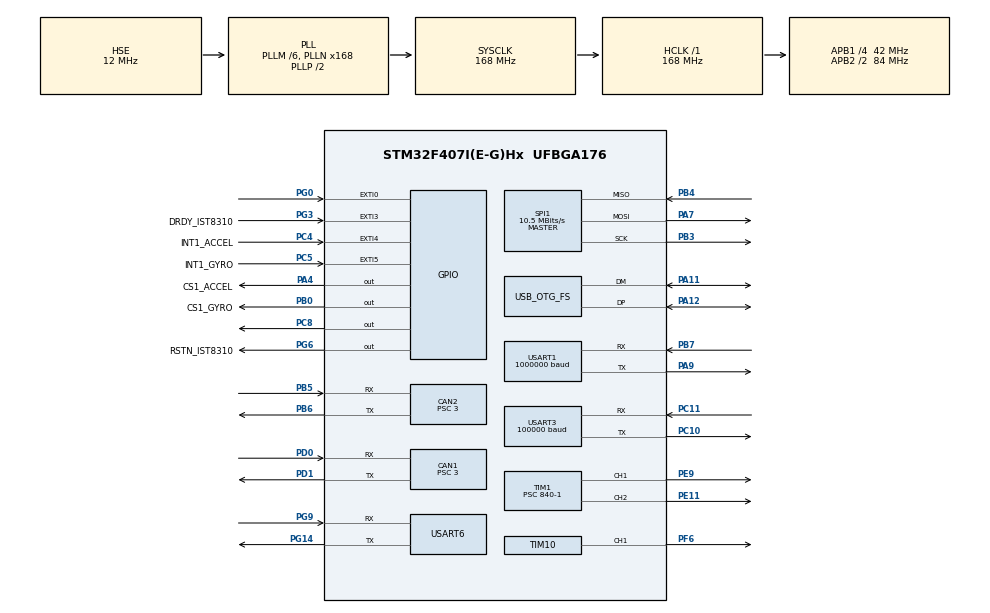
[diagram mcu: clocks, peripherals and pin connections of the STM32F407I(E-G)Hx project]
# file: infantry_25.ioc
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CAN1.BS1=CAN_BS1_10TQ
CAN1.BS2=CAN_BS2_3TQ
CAN1.CalculateBaudRate=1000000
CAN1.CalculateTimeBit=1000
CAN1.CalculateTimeQuantum=71.42857142857143
CAN1.Prescaler=3
CAN2.BS1=CAN_BS1_10TQ
CAN2.BS2=CAN_BS2_3TQ
CAN2.CalculateBaudRate=1000000
CAN2.CalculateTimeBit=1000
CAN2.CalculateTimeQuantum=71.42857142857143
CAN2.Prescaler=3
Dma.Request0=SPI1_RX
Dma.Request1=SPI1_TX
Dma.Request2=USART6_RX
Dma.Request3=USART3_RX
Dma.Request4=USART1_RX
Dma.Request5=USART1_TX
Dma.SPI1_RX.0.Direction=DMA_PERIPH_TO_MEMORY
Dma.SPI1_RX.0.FIFOMode=DMA_FIFOMODE_DISABLE
Dma.SPI1_RX.0.Instance=DMA2_Stream2
Dma.SPI1_RX.0.MemDataAlignment=DMA_MDATAALIGN_BYTE
Dma.SPI1_RX.0.MemInc=DMA_MINC_ENABLE
Dma.SPI1_RX.0.Mode=DMA_NORMAL
Dma.SPI1_RX.0.PeriphDataAlignment=DMA_PDATAALIGN_BYTE
Dma.SPI1_RX.0.PeriphInc=DMA_PINC_DISABLE
Dma.SPI1_RX.0.Priority=DMA_PRIORITY_VERY_HIGH
Dma.SPI1_TX.1.Direction=DMA_MEMORY_TO_PERIPH
Dma.SPI1_TX.1.FIFOMode=DMA_FIFOMODE_DISABLE
Dma.SPI1_TX.1.Instance=DMA2_Stream3
Dma.SPI1_TX.1.MemDataAlignment=DMA_MDATAALIGN_BYTE
Dma.SPI1_TX.1.MemInc=DMA_MINC_ENABLE
Dma.SPI1_TX.1.Mode=DMA_NORMAL
Dma.SPI1_TX.1.PeriphDataAlignment=DMA_PDATAALIGN_BYTE
Dma.SPI1_TX.1.PeriphInc=DMA_PINC_DISABLE
Dma.SPI1_TX.1.Priority=DMA_PRIORITY_HIGH
Dma.USART1_RX.4.Direction=DMA_PERIPH_TO_MEMORY
Dma.USART1_RX.4.FIFOMode=DMA_FIFOMODE_DISABLE
Dma.USART1_RX.4.Instance=DMA2_Stream5
Dma.USART1_RX.4.MemDataAlignment=DMA_MDATAALIGN_BYTE
Dma.USART1_RX.4.MemInc=DMA_MINC_ENABLE
Dma.USART1_RX.4.Mode=DMA_NORMAL
Dma.USART1_RX.4.PeriphDataAlignment=DMA_PDATAALIGN_BYTE
Dma.USART1_RX.4.PeriphInc=DMA_PINC_DISABLE
Dma.USART1_RX.4.Priority=DMA_PRIORITY_HIGH
Dma.USART1_TX.5.Direction=DMA_MEMORY_TO_PERIPH
Dma.USART1_TX.5.FIFOMode=DMA_FIFOMODE_DISABLE
Dma.USART1_TX.5.Instance=DMA2_Stream7
Dma.USART1_TX.5.MemDataAlignment=DMA_MDATAALIGN_BYTE
Dma.USART1_TX.5.MemInc=DMA_MINC_ENABLE
Dma.USART1_TX.5.Mode=DMA_NORMAL
Dma.USART1_TX.5.PeriphDataAlignment=DMA_PDATAALIGN_BYTE
Dma.USART1_TX.5.PeriphInc=DMA_PINC_DISABLE
Dma.USART1_TX.5.Priority=DMA_PRIORITY_MEDIUM
Dma.USART3_RX.3.Direction=DMA_PERIPH_TO_MEMORY
Dma.USART3_RX.3.FIFOMode=DMA_FIFOMODE_DISABLE
Dma.USART3_RX.3.Instance=DMA1_Stream1
Dma.USART3_RX.3.MemDataAlignment=DMA_MDATAALIGN_BYTE
Dma.USART3_RX.3.MemInc=DMA_MINC_ENABLE
Dma.USART3_RX.3.Mode=DMA_CIRCULAR
Dma.USART3_RX.3.PeriphDataAlignment=DMA_PDATAALIGN_BYTE
Dma.USART3_RX.3.PeriphInc=DMA_PINC_DISABLE
Dma.USART3_RX.3.Priority=DMA_PRIORITY_LOW
Dma.USART6_RX.2.Direction=DMA_PERIPH_TO_MEMORY
Dma.USART6_RX.2.FIFOMode=DMA_FIFOMODE_DISABLE
Dma.USART6_RX.2.Instance=DMA2_Stream1
Dma.USART6_RX.2.MemDataAlignment=DMA_MDATAALIGN_BYTE
Dma.USART6_RX.2.MemInc=DMA_MINC_ENABLE
Dma.USART6_RX.2.Mode=DMA_NORMAL
Dma.USART6_RX.2.PeriphDataAlignment=DMA_PDATAALIGN_BYTE
Dma.USART6_RX.2.PeriphInc=DMA_PINC_DISABLE
Dma.USART6_RX.2.Priority=DMA_PRIORITY_HIGH
FREERTOS.Tasks01=defaultTask,0,128,StartDefaultTask,Default,NULL,Dynamic,NULL,NULL;INSTask,0,512,StartINSTask,As weak,NULL,Dynamic,NULL,NULL
FREERTOS.configTOTAL_HEAP_SIZE=17104
Mcu.Family=STM32F4
Mcu.Name=STM32F407I(E-G)Hx
Mcu.Package=UFBGA176
NVIC.CAN1_RX0_IRQn=true\:5\:0\:false\:false\:true\:true\:true\:true\:true
NVIC.CAN1_TX_IRQn=true\:5\:0\:false\:false\:true\:true\:true\:true\:true
NVIC.CAN2_RX1_IRQn=true\:5\:0\:false\:false\:true\:true\:true\:true\:true
NVIC.CAN2_TX_IRQn=true\:5\:0\:false\:false\:true\:true\:true\:true\:true
NVIC.DMA1_Stream1_IRQn=true\:5\:0\:false\:false\:true\:true\:false\:true\:true
NVIC.DMA2_Stream1_IRQn=true\:5\:0\:false\:false\:true\:true\:false\:true\:true
NVIC.DMA2_Stream2_IRQn=true\:5\:0\:true\:false\:false\:true\:false\:false\:true
NVIC.DMA2_Stream3_IRQn=true\:5\:0\:false\:false\:false\:true\:false\:false\:true
NVIC.DMA2_Stream5_IRQn=true\:5\:0\:true\:false\:true\:true\:false\:true\:true
NVIC.DMA2_Stream7_IRQn=true\:5\:0\:false\:false\:true\:true\:false\:true\:true
NVIC.EXTI0_IRQn=true\:6\:0\:true\:false\:true\:true\:true\:true\:true
NVIC.EXTI3_IRQn=true\:5\:0\:false\:false\:true\:true\:true\:true\:true
NVIC.EXTI4_IRQn=true\:5\:0\:false\:false\:true\:true\:true\:true\:true
NVIC.EXTI9_5_IRQn=true\:5\:0\:false\:false\:true\:true\:true\:true\:true
NVIC.OTG_FS_IRQn=true\:5\:0\:false\:false\:true\:true\:false\:true\:true
NVIC.PriorityGroup=NVIC_PRIORITYGROUP_4
NVIC.TIM2_IRQn=true\:15\:0\:false\:false\:true\:false\:false\:true\:true
NVIC.TimeBase=TIM2_IRQn
NVIC.TimeBaseIP=TIM2
NVIC.USART1_IRQn=true\:5\:0\:false\:false\:true\:true\:true\:true\:true
NVIC.USART3_IRQn=true\:5\:0\:false\:false\:false\:true\:true\:true\:true
NVIC.USART6_IRQn=true\:7\:0\:true\:false\:false\:true\:false\:true\:true
PA11.Mode=Device_Only
PA11.Signal=USB_OTG_FS_DM
PA12.Mode=Device_Only
PA12.Signal=USB_OTG_FS_DP
PA13.Mode=Serial_Wire
PA13.Signal=SYS_JTMS-SWDIO
PA14.Mode=Serial_Wire
PA14.Signal=SYS_JTCK-SWCLK
PA4.GPIO_Label=CS1_ACCEL
PA4.GPIO_PuPd=GPIO_PULLUP
PA4.GPIO_Speed=GPIO_SPEED_FREQ_HIGH
PA4.PinState=GPIO_PIN_SET
PA4.Signal=GPIO_Output
PA7.GPIO_PuPd=GPIO_PULLUP
PA7.Mode=Full_Duplex_Master
PA7.Signal=SPI1_MOSI
PA9.Mode=Asynchronous
PA9.Signal=USART1_TX
PB0.GPIO_Label=CS1_GYRO
PB0.GPIO_ModeDefaultOutputPP=GPIO_MODE_OUTPUT_PP
PB0.GPIO_PuPd=GPIO_PULLUP
PB0.GPIO_Speed=GPIO_SPEED_FREQ_HIGH
PB0.PinState=GPIO_PIN_SET
PB0.Signal=GPIO_Output
PB3.GPIO_PuPd=GPIO_PULLUP
PB3.Mode=Full_Duplex_Master
PB3.Signal=SPI1_SCK
PB4.GPIO_PuPd=GPIO_PULLUP
PB4.Mode=Full_Duplex_Master
PB4.Signal=SPI1_MISO
PB5.Mode=CAN_Activate
PB5.Signal=CAN2_RX
PB6.Mode=CAN_Activate
PB6.Signal=CAN2_TX
PB7.Mode=Asynchronous
PB7.Signal=USART1_RX
PC10.Mode=Asynchronous
PC10.Signal=USART3_TX
PC11.Mode=Asynchronous
PC11.Signal=USART3_RX
PC4.GPIO_Label=INT1_ACCEL
PC4.GPIO_ModeDefaultEXTI=GPIO_MODE_IT_FALLING
PC4.GPIO_PuPd=GPIO_PULLUP
PC4.Signal=GPXTI4
PC5.GPIO_Label=INT1_GYRO
PC5.GPIO_ModeDefaultEXTI=GPIO_MODE_IT_FALLING
PC5.GPIO_PuPd=GPIO_PULLUP
PC5.Signal=GPXTI5
PC8.GPIO_ModeDefaultOutputPP=GPIO_MODE_OUTPUT_PP
PC8.Signal=GPIO_Output
PD0.Mode=CAN_Activate
PD0.Signal=CAN1_RX
PD1.Mode=CAN_Activate
PD1.Signal=CAN1_TX
PE11.Signal=S_TIM1_CH2
PE9.Signal=S_TIM1_CH1
PF6.Signal=S_TIM10_CH1
PG0.GPIO_ModeDefaultEXTI=GPIO_MODE_IT_FALLING
PG0.GPIO_PuPd=GPIO_PULLUP
PG0.Signal=GPXTI0
PG14.Mode=Asynchronous
PG14.Signal=USART6_TX
PG3.GPIO_Label=DRDY_IST8310
PG3.GPIO_ModeDefaultEXTI=GPIO_MODE_IT_FALLING
PG3.GPIO_PuPd=GPIO_PULLUP
PG3.Signal=GPXTI3
PG6.GPIO_Label=RSTN_IST8310
PG6.GPIO_PuPd=GPIO_PULLUP
PG6.GPIO_Speed=GPIO_SPEED_FREQ_MEDIUM
PG6.PinState=GPIO_PIN_SET
PG6.Signal=GPIO_Output
PG9.Mode=Asynchronous
PG9.Signal=USART6_RX
PH0-OSC_IN.Mode=HSE-External-Oscillator
PH0-OSC_IN.Signal=RCC_OSC_IN
PH1-OSC_OUT.Mode=HSE-External-Oscillator
PH1-OSC_OUT.Signal=RCC_OSC_OUT
ProjectManager.HeapSize=0x2000
ProjectManager.StackSize=0x2000
ProjectManager.TargetToolchain=MDK-ARM V5
RCC.48MHZClocksFreq_Value=48000000
RCC.AHBFreq_Value=168000000
RCC.APB1CLKDivider=RCC_HCLK_DIV4
RCC.APB1Freq_Value=42000000
RCC.APB1TimFreq_Value=84000000
RCC.APB2CLKDivider=RCC_HCLK_DIV2
RCC.APB2Freq_Value=84000000
RCC.APB2TimFreq_Value=168000000
RCC.CortexFreq_Value=168000000
RCC.HCLKFreq_Value=168000000
RCC.HSE_VALUE=12000000
RCC.HSI_VALUE=16000000
RCC.LSE_VALUE=32768
RCC.PLLM=6
RCC.PLLN=168
RCC.PLLQ=7
RCC.RCC_RTC_Clock_SourceVirtual=RCC_RTCCLKSOURCE_HSE_DIV30
RCC.RCC_RTC_Clock_Source_FROM_HSE=RCC_RTCCLKSOURCE_HSE_DIV30
RCC.SYSCLKFreq_VALUE=168000000
RCC.SYSCLKSource=RCC_SYSCLKSOURCE_PLLCLK
RCC.VCOOutputFreq_Value=336000000
RTC.AsynchPrediv=124
RTC.SynchPrediv=3199
SH.S_TIM10_CH1.0=TIM10_CH1,PWM Generation1 CH1
SH.S_TIM1_CH1.0=TIM1_CH1,PWM Generation1 CH1
SH.S_TIM1_CH2.0=TIM1_CH2,PWM Generation2 CH2
SPI1.BaudRatePrescaler=SPI_BAUDRATEPRESCALER_8
SPI1.CLKPhase=SPI_PHASE_2EDGE
SPI1.CLKPolarity=SPI_POLARITY_HIGH
SPI1.CalculateBaudRate=10.5 MBits/s
SPI1.Direction=SPI_DIRECTION_2LINES
SPI1.Mode=SPI_MODE_MASTER
SPI1.VirtualType=VM_MASTER
TIM1.Channel-PWM\ Generation1\ CH1=TIM_CHANNEL_1
TIM1.Channel-PWM\ Generation2\ CH2=TIM_CHANNEL_2
TIM1.Period=2000-1
TIM1.Prescaler=840-1
TIM10.Channel=TIM_CHANNEL_1
TIM10.Period=4999
USART1.BaudRate=1000000
USART1.VirtualMode=VM_ASYNC
USART3.BaudRate=100000
USART3.Parity=PARITY_EVEN
USART3.VirtualMode=VM_ASYNC
USART6.VirtualMode=VM_ASYNC
USB_DEVICE.CLASS_NAME_FS=CDC
USB_DEVICE.VirtualMode-CDC_FS=Cdc
USB_DEVICE.VirtualModeFS=Cdc_FS
USB_OTG_FS.VirtualMode=Device_Only
VP_FREERTOS_VS_CMSIS_V1.Mode=CMSIS_V1
VP_RTC_VS_RTC_Activate.Mode=RTC_Enabled
VP_SYS_VS_tim2.Mode=TIM2
VP_TIM10_VS_ClockSourceINT.Mode=Enable_Timer
VP_USB_DEVICE_VS_USB_DEVICE_CDC_FS.Mode=CDC_FS
board=custom

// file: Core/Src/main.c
/* USER CODE BEGIN Header */
/**
  ******************************************************************************
  * @file           : main.c
  * @brief          : Main program body
  ******************************************************************************
  * @attention
  *
  * Copyright (c) 2024 STMicroelectronics.
  * All rights reserved.
  *
  * This software is licensed under terms that can be found in the LICENSE file
  * in the root directory of this software component.
  * If no LICENSE file comes with this software, it is provided AS-IS.
  *
  ******************************************************************************
  */
/* USER CODE END Header */
#include "main.h"
#include "cmsis_os.h"
#include "can.h"
#include "dma.h"
#include "rtc.h"
#include "spi.h"
#include "tim.h"
#include "usart.h"
#include "usb_device.h"
#include "gpio.h"

/* USER CODE BEGIN Includes */
#include "BMI088driver.h"
#include "bsp_dwt.h"
#include "remote_control.h"
#include "bsp_rc.h"
#include "bsp_can.h"
//#include "system.h"
#include "stdio.h"
#include "ins_task.h"
#include "controller.h"
//#include "SuperCAP.h"
#include "essemi_swd_print.h"
#include "CAN_receive.h"

#include "remote_control.h"
/* USER CODE END Includes */

void SystemClock_Config(void);
void MX_FREERTOS_Init(void);

int main(void)
{

  /* MCU Configuration--------------------------------------------------------*/

  /* Reset of all peripherals, Initializes the Flash interface and the Systick. */
  HAL_Init();

  /* Configure the system clock */
  SystemClock_Config();

  /* Initialize all configured peripherals */
  MX_GPIO_Init();
  MX_DMA_Init();
  MX_RTC_Init();
  MX_SPI1_Init();
  MX_TIM1_Init();
  MX_TIM10_Init();
  MX_USART6_UART_Init();
  MX_USART3_UART_Init();
  MX_USART1_UART_Init();
  MX_CAN1_Init();
  MX_CAN2_Init();
  /* USER CODE BEGIN 2 */
	remote_control_init();
	can_filter_init();
    DWT_Init(168);
    while (BMI088_init(&hspi1, 1) != BMI088_NO_ERROR);
  /* USER CODE END 2 */

  /* Call init function for freertos objects (in cmsis_os2.c) */
  MX_FREERTOS_Init();

  /* Start scheduler */
  osKernelStart();

  /* We should never get here as control is now taken by the scheduler */

  /* Infinite loop */
  while (1)
  {

  }
}

void SystemClock_Config(void)
{
  RCC_OscInitTypeDef RCC_OscInitStruct = {0};
  RCC_ClkInitTypeDef RCC_ClkInitStruct = {0};

  /** Configure the main internal regulator output voltage
  */
  __HAL_RCC_PWR_CLK_ENABLE();
  __HAL_PWR_VOLTAGESCALING_CONFIG(PWR_REGULATOR_VOLTAGE_SCALE1);

  /** Initializes the RCC Oscillators according to the specified parameters
  * in the RCC_OscInitTypeDef structure.
  */
  RCC_OscInitStruct.OscillatorType = RCC_OSCILLATORTYPE_HSE;
  RCC_OscInitStruct.HSEState = RCC_HSE_ON;
  RCC_OscInitStruct.PLL.PLLState = RCC_PLL_ON;
  RCC_OscInitStruct.PLL.PLLSource = RCC_PLLSOURCE_HSE;
  RCC_OscInitStruct.PLL.PLLM = 6;
  RCC_OscInitStruct.PLL.PLLN = 168;
  RCC_OscInitStruct.PLL.PLLP = RCC_PLLP_DIV2;
  RCC_OscInitStruct.PLL.PLLQ = 7;
  if (HAL_RCC_OscConfig(&RCC_OscInitStruct) != HAL_OK)
  {
    Error_Handler();
  }

  /** Initializes the CPU, AHB and APB buses clocks
  */
  RCC_ClkInitStruct.ClockType = RCC_CLOCKTYPE_HCLK|RCC_CLOCKTYPE_SYSCLK
                              |RCC_CLOCKTYPE_PCLK1|RCC_CLOCKTYPE_PCLK2;
  RCC_ClkInitStruct.SYSCLKSource = RCC_SYSCLKSOURCE_PLLCLK;
  RCC_ClkInitStruct.AHBCLKDivider = RCC_SYSCLK_DIV1;
  RCC_ClkInitStruct.APB1CLKDivider = RCC_HCLK_DIV4;
  RCC_ClkInitStruct.APB2CLKDivider = RCC_HCLK_DIV2;

  if (HAL_RCC_ClockConfig(&RCC_ClkInitStruct, FLASH_LATENCY_5) != HAL_OK)
  {
    Error_Handler();
  }
}

/* USER CODE BEGIN 4 */
int fputc(int ch,FILE *f)//
{
	HAL_UART_Transmit(&huart6,(uint8_t *)&ch,1,0xFFFF);

	return ch;
}
/* USER CODE END 4 */

void HAL_TIM_PeriodElapsedCallback(TIM_HandleTypeDef *htim)
{
  if (htim->Instance == TIM2) {
    HAL_IncTick();
  }
}

void Error_Handler(void)
{
  __disable_irq();
  while (1)
  {
  }
}

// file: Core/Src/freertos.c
/* USER CODE BEGIN Header */
/**
  ******************************************************************************
  * File Name          : freertos.c
  * Description        : Code for freertos applications
  ******************************************************************************
  * @attention
  *
  * Copyright (c) 2024 STMicroelectronics.
  * All rights reserved.
  *
  * This software is licensed under terms that can be found in the LICENSE file
  * in the root directory of this software component.
  * If no LICENSE file comes with this software, it is provided AS-IS.
  *
  ******************************************************************************
  */
/* USER CODE END Header */

#include "FreeRTOS.h"
#include "task.h"
#include "main.h"
#include "cmsis_os.h"

osThreadId defaultTaskHandle;
osThreadId system_taskHandle;
osThreadId INSTaskHandle;
osThreadId motor_taskHandle;
osThreadId chassis_taskHandle;
//osThreadId Odometer_taskHandle;
osThreadId transmit_taskHandle;
osThreadId big_yaw_taskHandle;
osThreadId small_gim_taskHandle;
osThreadId REFEREEHandle;

void StartDefaultTask(void const * argument);
void system_run(void const * argument);
void StartINSTask(void const * argument);
void motor_run(void const * argument);
void chassis_task_run(void const * argument);
void Transmit_run(void const * argument);
void big_yaw_run(void const * argument);
void small_gimbal_run(void const * argument);
extern void REFEREE_Task(void const * argument);
//void Odometer_run(void const * argument);
void MX_FREERTOS_Init(void); /* (MISRA C 2004 rule 8.1) */

/* GetIdleTaskMemory prototype (linked to static allocation support) */
void vApplicationGetIdleTaskMemory( StaticTask_t **ppxIdleTaskTCBBuffer, StackType_t **ppxIdleTaskStackBuffer, uint32_t *pulIdleTaskStackSize );

/* USER CODE BEGIN GET_IDLE_TASK_MEMORY */
static StaticTask_t xIdleTaskTCBBuffer;
static StackType_t xIdleStack[configMINIMAL_STACK_SIZE];

void vApplicationGetIdleTaskMemory( StaticTask_t **ppxIdleTaskTCBBuffer, StackType_t **ppxIdleTaskStackBuffer, uint32_t *pulIdleTaskStackSize )
{
  *ppxIdleTaskTCBBuffer = &xIdleTaskTCBBuffer;
  *ppxIdleTaskStackBuffer = &xIdleStack[0];
  *pulIdleTaskStackSize = configMINIMAL_STACK_SIZE;
  /* place for user code */
}
/* USER CODE END GET_IDLE_TASK_MEMORY */

void MX_FREERTOS_Init(void) {

  /* Create the thread(s) */
  /* definition and creation of defaultTask */
  osThreadDef(defaultTask, StartDefaultTask, osPriorityNormal, 0, 128);
  defaultTaskHandle = osThreadCreate(osThread(defaultTask), NULL);

  /* definition and creation of system_task */
  osThreadDef(system_task, system_run, osPriorityHigh, 0, 512);
  system_taskHandle = osThreadCreate(osThread(system_task), NULL);

  /* definition and creation of INSTask */
  osThreadDef(INSTask, StartINSTask, osPriorityHigh, 0, 512);
  INSTaskHandle = osThreadCreate(osThread(INSTask), NULL);

  /* definition and creation of motor_task */
  osThreadDef(motor_task, motor_run, osPriorityNormal, 0, 128);
  motor_taskHandle = osThreadCreate(osThread(motor_task), NULL);

   osThreadDef(chassis_task, chassis_task_run, osPriorityNormal, 0, 128);
  chassis_taskHandle = osThreadCreate(osThread(chassis_task), NULL);

   osThreadDef(transmit_task, Transmit_run, osPriorityNormal, 0, 128);
  transmit_taskHandle = osThreadCreate(osThread(transmit_task), NULL);

  osThreadDef(big_yaw_task, big_yaw_run, osPriorityNormal, 0, 128);
  big_yaw_taskHandle = osThreadCreate(osThread(big_yaw_task), NULL);

  osThreadDef(small_gim_task, small_gimbal_run, osPriorityNormal, 0, 128);
  small_gim_taskHandle = osThreadCreate(osThread(small_gim_task), NULL);

   osThreadDef(REFEREE, REFEREE_Task, osPriorityNormal, 0, 256);
  REFEREEHandle = osThreadCreate(osThread(REFEREE), NULL);

//osThreadDef(Odometer_task, Odometer_run, osPriorityAboveNormal, 0, 256);
//  Odometer_taskHandle = osThreadCreate(osThread(Odometer_task), NULL);

}

void StartDefaultTask(void const * argument)
{
  for(;;)
  {
    osDelay(1);
  }
}

__weak void system_run(void const * argument)
{
  for(;;)
  {
    osDelay(1);
  }
}

__weak void StartINSTask(void const * argument)
{
  for(;;)
  {
    osDelay(1);
  }
}

__weak void StartTask04(void const * argument)
{
  for(;;)
  {
    osDelay(1);
  }
}
